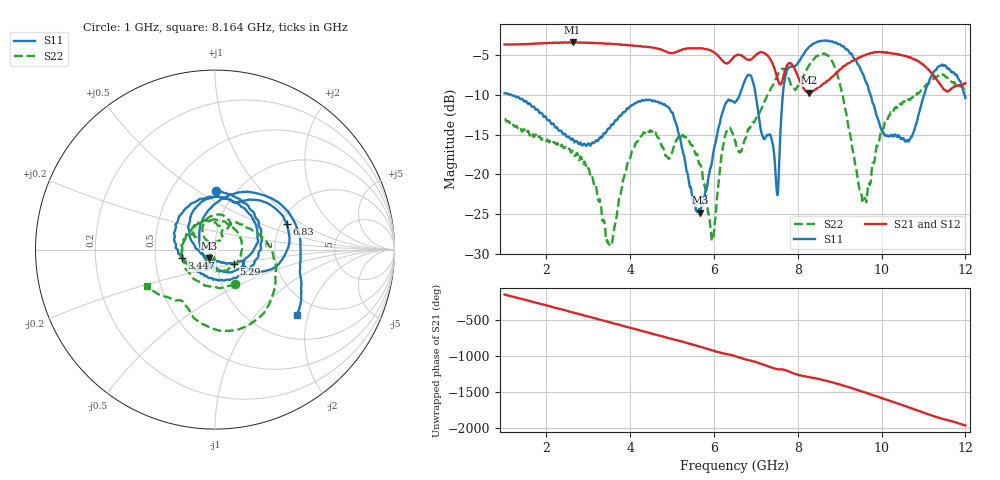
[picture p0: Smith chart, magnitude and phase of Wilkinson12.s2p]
!Keysight Technologies N9917A: A.08.15
!Date: Friday, 06 October 2017 09:44:11
!Timezone: (GMT-08:00) Pacific Time (US & Canada)
!Model: N9917A
!Serial: MY53102735
!GPS Latitude:
!GPS Longitude:
!GPS TimeStamp: 0001-01-01 00:00:00Z
!GPS Seconds Since Last Read: 0
!CHECKSUM:0050204000
!Correction: S11(ON U)S21(ON U)S12(ON U)S22(ON U)
!S2P File: Measurements:S11,S21,S12,S22:
# Hz S DB R 50
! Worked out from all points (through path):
!   801 points, 1 GHz to 12 GHz, reference 50 ohm
!   highest |S21| = -3.35 dB at 2.623 GHz (marker M1); lowest = -9.7 dB at 8.274 GHz (marker M2)
!   lowest |S11| = -24.8 dB at 5.675 GHz (marker M3), VSWR 1.12, Z = 46.6 - j4.35 ohm
!   |S11| at or under -10 dB: 1.16 GHz to 6.61 GHz (5.45 GHz wide, 140 % of centre); 6.995 GHz to 7.641 GHz (646.3 MHz wide, 8.83 % of centre); 9.737 GHz to 11.02 GHz (1.28 GHz wide, 12.3 % of centre)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
!   |S22| runs from -29.0 to -4.8 dB; largest |S21 - S12| = 0.01
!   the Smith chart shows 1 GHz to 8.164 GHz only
!   S11 on the Smith chart (normalised r, x): 1 GHz: 0.82, +0.59; 3.447 GHz: 0.69, -0.07; 5.29 GHz: 1.21, -0.19; 6.83 GHz: 2.16, +0.74; 8.164 GHz: 1.55, -1.71
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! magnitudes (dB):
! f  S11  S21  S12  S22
! 1 GHz  -9.8  -3.6  -3.7  -13.0
! 2.623 GHz  -15.5  -3.4  -3.4  -17.0
! 2.842 GHz  -16.3  -3.4  -3.4  -18.1
! 3.447 GHz  -14.5  -3.5  -3.6  -28.5
! 4.094 GHz  -11.1  -3.8  -3.8  -16.6
! 4.671 GHz  -10.9  -4.2  -4.2  -15.4
! 5.29 GHz  -17.7  -4.2  -4.2  -15.3
! 5.675 GHz  -24.8  -4.1  -4.1  -18.8
! 5.964 GHz  -17.9  -4.5  -4.6  -28.3
! 6.253 GHz  -11.4  -5.9  -5.9  -15.4
! 6.5 GHz  -11.0  -5.1  -5.1  -15.9
! 6.83 GHz  -7.4  -5.6  -5.6  -14.3
! 7.504 GHz  -22.4  -7.7  -7.7  -7.7
! 7.71 GHz  -7.4  -6.7  -6.7  -7.1
! 8.164 GHz  -4.7  -9.4  -9.4  -7.3
! 8.274 GHz  -3.9  -9.7  -9.6  -6.2
! 8.342 GHz  -3.6  -9.6  -9.5  -5.6
! 8.893 GHz  -3.4  -7.3  -7.4  -6.6
! 9.58 GHz  -7.7  -5.0  -5.0  -23.3
! 10.17 GHz  -15.2  -4.7  -4.7  -12.6
! 11.39 GHz  -6.3  -8.6  -8.6  -7.5
! 12 GHz  -10.4  -8.5  -8.3  -9.4
